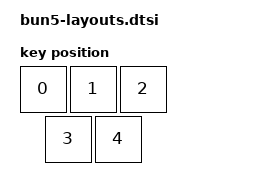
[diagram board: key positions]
#include <physical_layouts.dtsi>

/ {
    default_layout: default_layout {
        compatible = "zmk,physical-layout";
        display-name = "Default Layout";

        transform = <&default_transform>;
        kscan = <&kscan>;

        keys
            = <&key_physical_attrs 100 100   0   0  0  0  0>
            , <&key_physical_attrs 100 100 100   0  0  0  0>
            , <&key_physical_attrs 100 100 200   0  0  0  0>
            , <&key_physical_attrs 100 100  50 100  0  0  0>
            , <&key_physical_attrs 100 100 150 100  0  0  0>
            ;
    };
};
